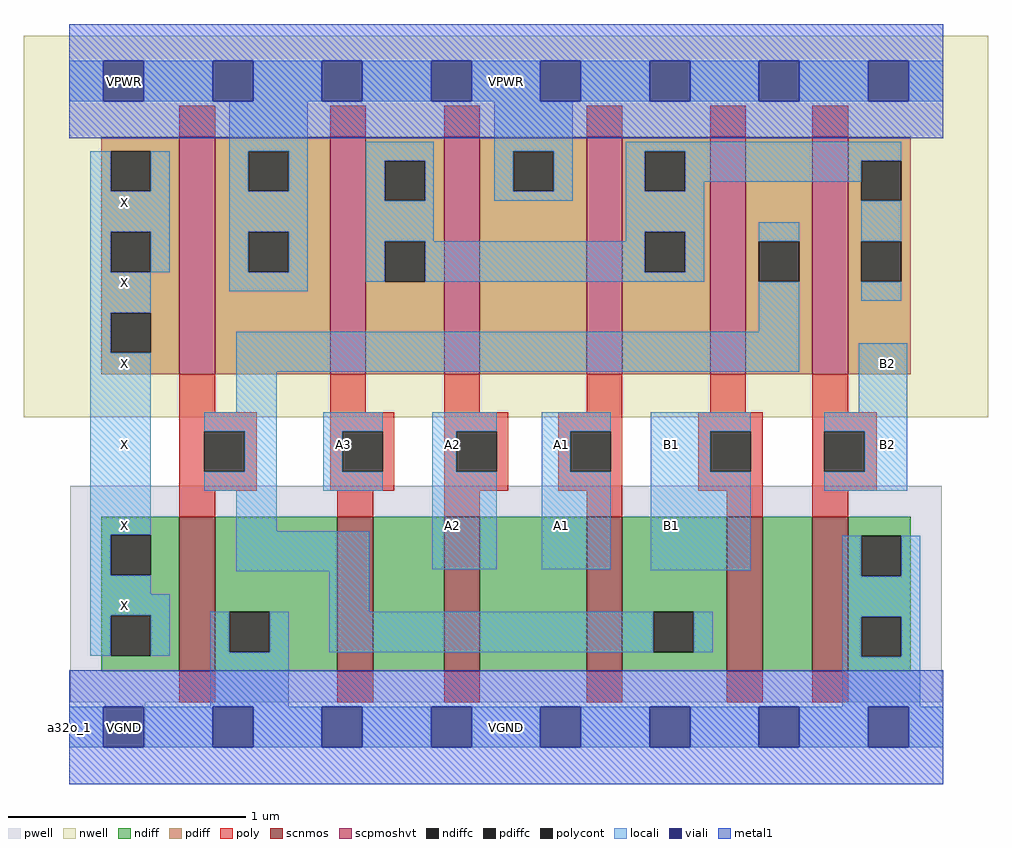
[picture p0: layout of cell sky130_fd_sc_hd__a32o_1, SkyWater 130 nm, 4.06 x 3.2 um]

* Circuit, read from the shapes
.subckt sky130_fd_sc_hd__a32o_1 A1 A2 A3 B1 B2 VGND VNB VPB VPWR X
XM1 VGND n1 X VNB sky130_fd_pr__nfet_01v8 w=0.65 l=0.15
XM2 n2 A3 VGND VNB sky130_fd_pr__nfet_01v8 w=0.65 l=0.15
XM3 n3 A2 n2 VNB sky130_fd_pr__nfet_01v8 w=0.65 l=0.15
XM4 n1 A1 n3 VNB sky130_fd_pr__nfet_01v8 w=0.65 l=0.15
XM5 n4 B1 n1 VNB sky130_fd_pr__nfet_01v8 w=0.65 l=0.15
XM6 VGND B2 n4 VNB sky130_fd_pr__nfet_01v8 w=0.65 l=0.15
XM7 VPWR n1 X VPB sky130_fd_pr__pfet_01v8_hvt w=1 l=0.15
XM8 n5 A3 VPWR VPB sky130_fd_pr__pfet_01v8_hvt w=1 l=0.15
XM9 VPWR A2 n5 VPB sky130_fd_pr__pfet_01v8_hvt w=1 l=0.15
XM10 n5 A1 VPWR VPB sky130_fd_pr__pfet_01v8_hvt w=1 l=0.15
XM11 n1 B1 n5 VPB sky130_fd_pr__pfet_01v8_hvt w=1 l=0.15
XM12 n5 B2 n1 VPB sky130_fd_pr__pfet_01v8_hvt w=1 l=0.15
.ends

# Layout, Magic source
magic
tech sky130A
magscale 1 2
<< nwell >>
rect -38 261 774 582
<< pwell >>
rect 1 21 735 203
rect 30 -17 64 21
<< scnmos >>
rect 93 47 123 177
rect 226 47 256 177
rect 316 47 346 177
rect 436 47 466 177
rect 554 47 584 177
rect 626 47 656 177
<< scpmoshvt >>
rect 93 297 123 497
rect 220 297 250 497
rect 316 297 346 497
rect 436 297 466 497
rect 540 297 570 497
rect 626 297 656 497
<< ndiff >>
rect 27 162 93 177
rect 27 128 35 162
rect 69 128 93 162
rect 27 94 93 128
rect 27 60 35 94
rect 69 60 93 94
rect 27 47 93 60
rect 123 97 226 177
rect 123 63 135 97
rect 169 63 226 97
rect 123 47 226 63
rect 256 47 316 177
rect 346 47 436 177
rect 466 97 554 177
rect 466 63 492 97
rect 526 63 554 97
rect 466 47 554 63
rect 584 47 626 177
rect 656 161 709 177
rect 656 127 667 161
rect 701 127 709 161
rect 656 93 709 127
rect 656 59 667 93
rect 701 59 709 93
rect 656 47 709 59
<< pdiff >>
rect 27 485 93 497
rect 27 451 35 485
rect 69 451 93 485
rect 27 417 93 451
rect 27 383 35 417
rect 69 383 93 417
rect 27 349 93 383
rect 27 315 35 349
rect 69 315 93 349
rect 27 297 93 315
rect 123 485 220 497
rect 123 451 151 485
rect 185 451 220 485
rect 123 417 220 451
rect 123 383 151 417
rect 185 383 220 417
rect 123 297 220 383
rect 250 477 316 497
rect 250 443 266 477
rect 300 443 316 477
rect 250 409 316 443
rect 250 375 266 409
rect 300 375 316 409
rect 250 297 316 375
rect 346 485 436 497
rect 346 451 374 485
rect 408 451 436 485
rect 346 297 436 451
rect 466 485 540 497
rect 466 451 485 485
rect 519 451 540 485
rect 466 417 540 451
rect 466 383 485 417
rect 519 383 540 417
rect 466 297 540 383
rect 570 409 626 497
rect 570 375 581 409
rect 615 375 626 409
rect 570 297 626 375
rect 656 477 709 497
rect 656 443 667 477
rect 701 443 709 477
rect 656 409 709 443
rect 656 375 667 409
rect 701 375 709 409
rect 656 297 709 375
<< ndiffc >>
rect 35 128 69 162
rect 35 60 69 94
rect 135 63 169 97
rect 492 63 526 97
rect 667 127 701 161
rect 667 59 701 93
<< pdiffc >>
rect 35 451 69 485
rect 35 383 69 417
rect 35 315 69 349
rect 151 451 185 485
rect 151 383 185 417
rect 266 443 300 477
rect 266 375 300 409
rect 374 451 408 485
rect 485 451 519 485
rect 485 383 519 417
rect 581 375 615 409
rect 667 443 701 477
rect 667 375 701 409
<< poly >>
rect 93 497 123 523
rect 220 497 250 523
rect 316 497 346 523
rect 436 497 466 523
rect 540 497 570 523
rect 626 497 656 523
rect 93 265 123 297
rect 220 265 250 297
rect 316 265 346 297
rect 436 265 466 297
rect 540 265 570 297
rect 626 265 656 297
rect 93 249 158 265
rect 93 215 114 249
rect 148 215 158 249
rect 93 199 158 215
rect 220 249 274 265
rect 220 215 230 249
rect 264 215 274 249
rect 220 199 274 215
rect 316 249 370 265
rect 316 215 326 249
rect 360 215 370 249
rect 316 199 370 215
rect 412 249 466 265
rect 412 215 422 249
rect 456 215 466 249
rect 412 199 466 215
rect 530 249 584 265
rect 530 215 540 249
rect 574 215 584 249
rect 530 199 584 215
rect 93 177 123 199
rect 226 177 256 199
rect 316 177 346 199
rect 436 177 466 199
rect 554 177 584 199
rect 626 249 680 265
rect 626 215 636 249
rect 670 215 680 249
rect 626 199 680 215
rect 626 177 656 199
rect 93 21 123 47
rect 226 21 256 47
rect 316 21 346 47
rect 436 21 466 47
rect 554 21 584 47
rect 626 21 656 47
<< polycont >>
rect 114 215 148 249
rect 230 215 264 249
rect 326 215 360 249
rect 422 215 456 249
rect 540 215 574 249
rect 636 215 670 249
<< locali >>
rect 0 527 29 561
rect 63 527 121 561
rect 155 527 213 561
rect 247 527 305 561
rect 339 527 397 561
rect 431 527 489 561
rect 523 527 581 561
rect 615 527 673 561
rect 707 527 736 561
rect 135 485 201 527
rect 18 451 35 485
rect 69 451 85 485
rect 18 417 85 451
rect 18 383 35 417
rect 69 383 85 417
rect 135 451 151 485
rect 185 451 201 485
rect 135 417 201 451
rect 135 383 151 417
rect 185 383 201 417
rect 18 349 69 383
rect 135 367 201 383
rect 250 477 307 493
rect 250 443 266 477
rect 300 443 307 477
rect 358 485 424 527
rect 358 451 374 485
rect 408 451 424 485
rect 358 443 424 451
rect 469 485 701 493
rect 469 451 485 485
rect 519 477 701 485
rect 519 459 667 477
rect 519 451 535 459
rect 250 409 307 443
rect 469 417 535 451
rect 469 409 485 417
rect 250 375 266 409
rect 300 383 485 409
rect 519 383 535 417
rect 300 375 535 383
rect 581 409 615 425
rect 18 315 35 349
rect 581 333 615 375
rect 667 409 701 443
rect 667 359 701 375
rect 18 162 69 315
rect 141 299 615 333
rect 141 265 175 299
rect 665 265 706 323
rect 114 249 175 265
rect 148 215 175 249
rect 114 199 175 215
rect 214 249 264 265
rect 214 215 230 249
rect 214 199 264 215
rect 306 249 360 265
rect 306 215 326 249
rect 18 128 35 162
rect 141 165 175 199
rect 141 131 253 165
rect 306 133 360 215
rect 398 249 456 265
rect 398 215 422 249
rect 398 133 456 215
rect 490 249 574 265
rect 490 215 540 249
rect 490 132 574 215
rect 636 249 706 265
rect 670 215 706 249
rect 636 199 706 215
rect 18 112 69 128
rect 18 94 85 112
rect 219 97 253 131
rect 651 127 667 161
rect 701 127 717 161
rect 18 60 35 94
rect 69 60 85 94
rect 119 63 135 97
rect 169 63 185 97
rect 219 63 492 97
rect 526 63 542 97
rect 651 93 717 127
rect 119 17 185 63
rect 651 59 667 93
rect 701 59 717 93
rect 651 17 717 59
rect 0 -17 29 17
rect 63 -17 121 17
rect 155 -17 213 17
rect 247 -17 305 17
rect 339 -17 397 17
rect 431 -17 489 17
rect 523 -17 581 17
rect 615 -17 673 17
rect 707 -17 736 17
<< viali >>
rect 29 527 63 561
rect 121 527 155 561
rect 213 527 247 561
rect 305 527 339 561
rect 397 527 431 561
rect 489 527 523 561
rect 581 527 615 561
rect 673 527 707 561
rect 29 -17 63 17
rect 121 -17 155 17
rect 213 -17 247 17
rect 305 -17 339 17
rect 397 -17 431 17
rect 489 -17 523 17
rect 581 -17 615 17
rect 673 -17 707 17
<< metal1 >>
rect 0 561 736 592
rect 0 527 29 561
rect 63 527 121 561
rect 155 527 213 561
rect 247 527 305 561
rect 339 527 397 561
rect 431 527 489 561
rect 523 527 581 561
rect 615 527 673 561
rect 707 527 736 561
rect 0 496 736 527
rect 0 17 736 48
rect 0 -17 29 17
rect 63 -17 121 17
rect 155 -17 213 17
rect 247 -17 305 17
rect 339 -17 397 17
rect 431 -17 489 17
rect 523 -17 581 17
rect 615 -17 673 17
rect 707 -17 736 17
rect 0 -48 736 -17
<< labels >>
flabel locali s 30 85 64 119 0 FreeSans 200 0 0 0 X
port 10 nsew signal output
flabel locali s 30 153 64 187 0 FreeSans 200 0 0 0 X
port 10 nsew signal output
flabel locali s 30 289 64 323 0 FreeSans 200 0 0 0 X
port 10 nsew signal output
flabel locali s 30 357 64 391 0 FreeSans 200 0 0 0 X
port 10 nsew signal output
flabel locali s 30 425 64 459 0 FreeSans 200 0 0 0 X
port 10 nsew signal output
flabel locali s 214 221 248 255 0 FreeSans 200 0 0 0 A3
port 3 nsew signal input
flabel locali s 672 221 706 255 0 FreeSans 200 0 0 0 B2
port 5 nsew signal input
flabel locali s 490 153 524 187 0 FreeSans 200 0 0 0 B1
port 4 nsew signal input
flabel locali s 398 153 432 187 0 FreeSans 200 0 0 0 A1
port 1 nsew signal input
flabel locali s 398 221 432 255 0 FreeSans 200 0 0 0 A1
port 1 nsew signal input
flabel locali s 306 221 340 255 0 FreeSans 200 0 0 0 A2
port 2 nsew signal input
flabel locali s 490 221 524 255 0 FreeSans 200 0 0 0 B1
port 4 nsew signal input
flabel locali s 672 289 706 323 0 FreeSans 200 0 0 0 B2
port 5 nsew signal input
flabel locali s 306 153 340 187 0 FreeSans 200 0 0 0 A2
port 2 nsew signal input
flabel locali s 30 221 64 255 0 FreeSans 200 0 0 0 X
port 10 nsew signal output
flabel metal1 s 30 -17 64 17 0 FreeSans 200 0 0 0 VGND
port 6 nsew ground bidirectional abutment
flabel metal1 s 30 527 64 561 0 FreeSans 200 0 0 0 VPWR
port 9 nsew power bidirectional abutment
flabel nwell s 30 527 64 561 0 FreeSans 200 0 0 0 VPB
port 8 nsew power bidirectional
flabel pwell s 30 -17 64 17 0 FreeSans 200 0 0 0 VNB
port 7 nsew ground bidirectional
rlabel comment s 0 0 0 0 4 a32o_1
rlabel metal1 s 0 -48 736 48 1 VGND
port 6 nsew ground bidirectional abutment
rlabel metal1 s 0 496 736 592 1 VPWR
port 9 nsew power bidirectional abutment
<< properties >>
string FIXED_BBOX 0 0 736 544
string GDS_END 4156776
string GDS_FILE $PDKPATH/libs.ref/sky130_fd_sc_hd/gds/sky130_fd_sc_hd.gds
string GDS_START 4149402
string LEFclass CORE
string LEFsite unithd
string LEFsymmetry X Y R90
string path 0.000 0.000 18.400 0.000 
<< end >>
